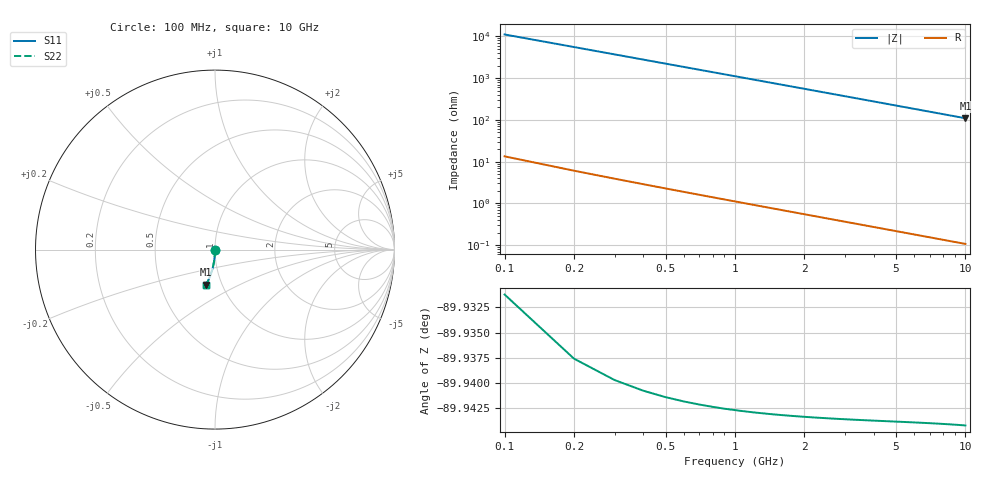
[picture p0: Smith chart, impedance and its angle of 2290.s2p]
# Hz S RI R 50.00
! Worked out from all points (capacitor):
!   100 points, 100 MHz to 10 GHz, reference 50 ohm
!   read as one part in shunt: C = 143 fF near 100 MHz
!   lowest |Z| = 110 ohm at 10 GHz (marker M1)
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1e8  3.96e-05 -0.00203  0.9999 -0.00246  0.9999 -0.00246  3.96e-05 -0.00203
2e8  2.27e-05 -0.00406  0.9999 -0.00491  0.9999 -0.00491  2.27e-05 -0.00406
3e8  -4.16e-06 -0.00609  0.9999 -0.00737  0.9999 -0.00737  -4.16e-06 -0.00609
4e8  -4.11e-05 -0.00812  0.9999 -0.00982  0.9999 -0.00982  -4.11e-05 -0.00812
5e8  -8.8e-05 -0.0102  0.9998 -0.0123  0.9998 -0.0123  -8.8e-05 -0.0102
6e8  -0.000145 -0.0122  0.9998 -0.0147  0.9998 -0.0147  -0.000145 -0.0122
7e8  -0.000212 -0.0142  0.9997 -0.0172  0.9997 -0.0172  -0.000212 -0.0142
8e8  -0.000289 -0.0162  0.9996 -0.0197  0.9996 -0.0197  -0.000289 -0.0162
9e8  -0.000376 -0.0183  0.9995 -0.0221  0.9995 -0.0221  -0.000376 -0.0183
1.1e9  -0.00058 -0.0223  0.9993 -0.027  0.9993 -0.027  -0.00058 -0.0223
1.4e9  -0.000961 -0.0284  0.9989 -0.0344  0.9989 -0.0344  -0.000961 -0.0284
1.8e9  -0.00161 -0.0366  0.9983 -0.0442  0.9983 -0.0442  -0.00161 -0.0366
2.1e9  -0.0022 -0.0427  0.9977 -0.0516  0.9977 -0.0516  -0.0022 -0.0427
2.5e9  -0.00314 -0.0508  0.9967 -0.0615  0.9967 -0.0615  -0.00314 -0.0508
2.9e9  -0.00423 -0.0589  0.9956 -0.0713  0.9956 -0.0713  -0.00423 -0.0589
3.4e9  -0.00582 -0.069  0.994 -0.0836  0.994 -0.0836  -0.00582 -0.069
4.2e9  -0.0089 -0.0851  0.9908 -0.1031  0.9908 -0.1031  -0.0089 -0.0851
5.1e9  -0.0131 -0.1031  0.9865 -0.125  0.9865 -0.125  -0.0131 -0.1031
5.9e9  -0.0175 -0.1189  0.982 -0.1443  0.982 -0.1443  -0.0175 -0.1189
6.7e9  -0.0226 -0.1345  0.9769 -0.1634  0.9769 -0.1634  -0.0226 -0.1345
8.4e9  -0.0353 -0.1667  0.9639 -0.2033  0.9639 -0.2033  -0.0353 -0.1667
1e10  -0.0495 -0.1957  0.9494 -0.2395  0.9494 -0.2395  -0.0495 -0.1957
